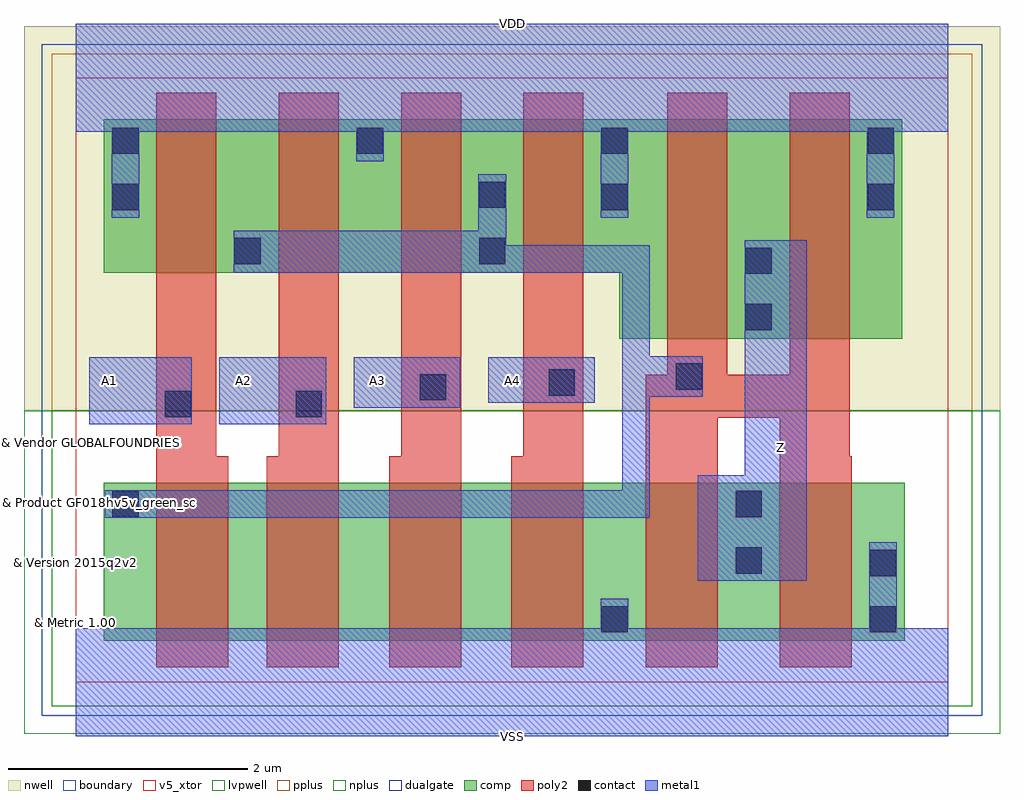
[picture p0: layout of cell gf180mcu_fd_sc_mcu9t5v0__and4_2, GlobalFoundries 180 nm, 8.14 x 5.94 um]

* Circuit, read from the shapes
.subckt gf180mcu_fd_sc_mcu9t5v0__and4_2 A1 A2 A3 A4 VDD VSS Z
XM1 n1 A1 n2 VSUBS nfet_05v0 w=1.32u l=0.6u
XM2 n3 A2 n1 VSUBS nfet_05v0 w=1.32u l=0.6u
XM3 n4 A3 n3 VSUBS nfet_05v0 w=1.32u l=0.6u
XM4 VSS A4 n4 VSUBS nfet_05v0 w=1.32u l=0.6u
XM5 Z n2 VSS VSUBS nfet_05v0 w=1.32u l=0.6u m=2
XM6 n2 A1 VDD n5 pfet_05v0 w=1.28u l=0.5u
XM7 VDD A2 n2 n5 pfet_05v0 w=1.28u l=0.5u
XM8 n2 A3 VDD n5 pfet_05v0 w=1.28u l=0.5u
XM9 VDD A4 n2 n5 pfet_05v0 w=1.28u l=0.5u
XM10 Z n2 VDD n5 pfet_05v0 w=1.83u l=0.5u m=2
.ends

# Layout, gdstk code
import gdstk
lib = gdstk.Library(unit=1e-6, precision=1e-09)
def R(c, l, rs):  # rectangles x0, y0, x1, y1
    for r in rs: c.add(gdstk.rectangle(r[:2], r[2:], *l))
def A(c, l, x, y, w, h, nx, ny, dx, dy):  # array of equal rectangles
    R(c, l, [(x+i*dx, y+j*dy, x+i*dx+w, y+j*dy+h) for i in range(nx) for j in range(ny)])
def P(c, l, *ps):  # polygons
    for p in ps: c.add(gdstk.Polygon(p, *l))
boundary = (0, 0)
nwell = (21, 0)
comp = (22, 0)
poly2 = (30, 0)
pplus = (31, 0)
nplus = (32, 0)
contact = (33, 0)
metal1 = (34, 0)
dualgate = (55, 0)
v5_xtor = (112, 1)
lvpwell = (204, 0)

gf180mcu_fd_sc_mcu9t5v0_ = lib.new_cell('gf180mcu_fd_sc_mcu9t5v0__and4_2')
R(gf180mcu_fd_sc_mcu9t5v0_, boundary, [(0,0,7.28,5.04)])
R(gf180mcu_fd_sc_mcu9t5v0_, nwell, [(-0.43,2.265,7.71,5.47)])
R(gf180mcu_fd_sc_mcu9t5v0_, comp, [(0.235,0.345,6.915,1.665)])
P(gf180mcu_fd_sc_mcu9t5v0_, comp, [(4.535,2.865),(4.535,3.415),(0.235,3.415),(0.235,4.695),(6.895,4.695),(6.895,2.865)])
P(gf180mcu_fd_sc_mcu9t5v0_, poly2, [(0.675,0.125),(0.675,4.915),(1.175,4.915),(1.175,1.885),(1.275,1.885),(1.275,0.125)],
  [(1.595,0.125),(1.595,1.885),(1.695,1.885),(1.695,4.915),(2.195,4.915),(2.195,0.125)],
  [(2.615,0.125),(2.615,1.885),(2.715,1.885),(2.715,4.915),(3.215,4.915),(3.215,0.125)],
  [(3.635,0.125),(3.635,1.885),(3.735,1.885),(3.735,4.915),(4.235,4.915),(4.235,0.125)],
  [(4.755,0.125),(4.755,2.565),(4.935,2.565),(4.935,4.915),(5.435,4.915),(5.435,2.565),(5.955,2.565),(5.955,4.915),(6.455,4.915),(6.455,1.885),(6.475,1.885),(6.475,0.125),(5.875,0.125),(5.875,2.205),(5.355,2.205),(5.355,0.125)])
R(gf180mcu_fd_sc_mcu9t5v0_, pplus, [(-0.2,2.265,7.48,5.24)])
R(gf180mcu_fd_sc_mcu9t5v0_, nplus, [(-0.2,-0.2,7.48,2.265)])
A(gf180mcu_fd_sc_mcu9t5v0_, contact, 0.305, 4.405, 0.22, 0.22, 3, 1, 2.04, 0)
R(gf180mcu_fd_sc_mcu9t5v0_, contact, [(4.385,0.415,4.605,0.635), (6.625,0.415,6.845,0.635), (6.625,0.885,6.845,1.105), (5.505,0.905,5.725,1.125), (0.305,1.375,0.525,1.595), (5.505,1.375,5.725,1.595), (0.745,2.21,0.965,2.43), (1.835,2.21,2.055,2.43), (2.87,2.35,3.09,2.57), (3.945,2.39,4.165,2.61), (5.005,2.44,5.225,2.66), (5.585,2.935,5.805,3.155), (5.585,3.405,5.805,3.625), (1.325,3.485,1.545,3.705), (3.365,3.485,3.585,3.705), (0.305,3.935,0.525,4.155), (4.385,3.935,4.605,4.155), (6.605,3.935,6.825,4.155), (3.365,3.955,3.585,4.175), (6.605,4.405,6.825,4.625)])
R(gf180mcu_fd_sc_mcu9t5v0_, metal1, [(0.115,2.15,0.97,2.71), (1.2,2.15,2.09,2.71), (2.32,2.29,3.21,2.71), (3.44,2.33,4.33,2.71)])
P(gf180mcu_fd_sc_mcu9t5v0_, metal1, [(0.245,1.37),(0.245,1.6),(4.56,1.6),(4.56,3.415),(1.32,3.415),(1.32,3.765),(3.36,3.765),(3.36,4.235),(3.59,4.235),(3.59,3.645),(4.79,3.645),(4.79,2.72),(5.23,2.72),(5.23,2.38),(4.79,2.38),(4.79,1.37)],
  [(5.19,0.845),(5.19,1.725),(5.58,1.725),(5.58,3.685),(6.1,3.685),(6.1,0.845)],
  [(0,-0.45),(0,0.45),(4.38,0.45),(4.38,0.695),(4.61,0.695),(4.61,0.45),(6.62,0.45),(6.62,1.165),(6.85,1.165),(6.85,0.45),(7.28,0.45),(7.28,-0.45)],
  [(0.3,3.875),(0.3,4.59),(0,4.59),(0,5.49),(7.28,5.49),(7.28,4.59),(6.83,4.59),(6.83,3.875),(6.6,3.875),(6.6,4.59),(4.61,4.59),(4.61,3.875),(4.38,3.875),(4.38,4.59),(2.57,4.59),(2.57,4.345),(2.34,4.345),(2.34,4.59),(0.53,4.59),(0.53,3.875)])
R(gf180mcu_fd_sc_mcu9t5v0_, dualgate, [(-0.28,-0.28,7.56,5.32)])
R(gf180mcu_fd_sc_mcu9t5v0_, v5_xtor, [(0,0,7.28,5.04)])
R(gf180mcu_fd_sc_mcu9t5v0_, lvpwell, [(-0.43,-0.43,7.71,2.265)])
gf180mcu_fd_sc_mcu9t5v0_.add(gdstk.Label('A1', (0.28,2.52), layer=34, texttype=10))
gf180mcu_fd_sc_mcu9t5v0_.add(gdstk.Label('A2', (1.4,2.52), layer=34, texttype=10))
gf180mcu_fd_sc_mcu9t5v0_.add(gdstk.Label('A3', (2.52,2.52), layer=34, texttype=10))
gf180mcu_fd_sc_mcu9t5v0_.add(gdstk.Label('A4', (3.64,2.52), layer=34, texttype=10))
gf180mcu_fd_sc_mcu9t5v0_.add(gdstk.Label('VDD', (3.64,5.49), layer=34, texttype=10))
gf180mcu_fd_sc_mcu9t5v0_.add(gdstk.Label('VSS', (3.64,-0.45), layer=34, texttype=10))
gf180mcu_fd_sc_mcu9t5v0_.add(gdstk.Label('Z', (5.88,1.96), layer=34, texttype=10))
gf180mcu_fd_sc_mcu9t5v0_.add(gdstk.Label('& Vendor GLOBALFOUNDRIES', (0,2), layer=63, texttype=63))
gf180mcu_fd_sc_mcu9t5v0_.add(gdstk.Label('& Product GF018hv5v_green_sc9', (0,1.5), layer=63, texttype=63))
gf180mcu_fd_sc_mcu9t5v0_.add(gdstk.Label('& Version 2015q2v2', (0,1), layer=63, texttype=63))
gf180mcu_fd_sc_mcu9t5v0_.add(gdstk.Label('& Metric 1.00', (0,0.5), layer=63, texttype=63))

lib.write_gds('gf180mcu_fd_sc_mcu9t5v0__and4_2.gds')
